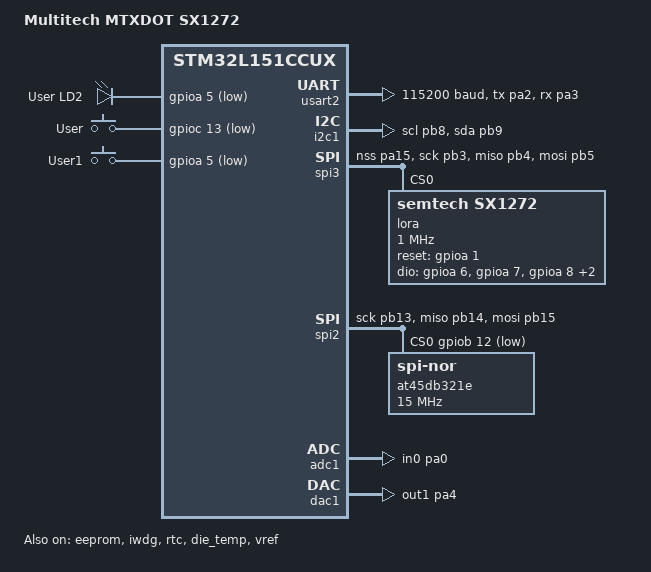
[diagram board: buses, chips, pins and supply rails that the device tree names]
/*
 * Copyright (c) 2024 Multitech Systems Inc.
 *
 * SPDX-License-Identifier: Apache-2.0
 */

/dts-v1/;
#include <st/l1/stm32l151Xc.dtsi>
#include <st/l1/stm32l151ccux-pinctrl.dtsi>
#include "arduino_r3_connector.dtsi"
#include <zephyr/dt-bindings/input/input-event-codes.h>

/ {
	model = "Multitech MTXDOT SX1272";
	compatible = "st,stm32l151ccux", "multitech,xdot";

	chosen {
		zephyr,console = &usart2;
		zephyr,shell-uart = &usart2;
		zephyr,sram = &sram0;
		zephyr,flash = &flash0;
		zephyr,flash-controller = &at45db321e;
	};

	leds: leds {
		compatible = "gpio-leds";
		green_led_0: led_0 {
			gpios = <&gpioa 5 GPIO_ACTIVE_LOW>;
			label = "User LD2";
		};
	};

	gpio_keys {
		compatible = "gpio-keys";
		user_button: button {
			label = "User";
			gpios = <&gpioc 13 GPIO_ACTIVE_LOW>;
			zephyr,code = <INPUT_KEY_0>;
		};
		flash_switch: switch {
			label = "User1";
			gpios = <&gpioa 5 GPIO_ACTIVE_LOW>;
			zephyr,code = <INPUT_KEY_1>;
		};
	};

	aliases {
		led0 = &green_led_0;
		sw0 = &user_button;
		eeprom-0 = &eeprom;
		watchdog0 = &iwdg;
		lora0 = &lora;
		flash-switch = &flash_switch;
		flash1 = &at45db321e;
	};
};

&clk_lsi {
	status = "okay";
};

&clk_hsi {
	status = "okay";
};

&clk_hse {
	clock-frequency = <DT_FREQ_M(24)>; /* 24MHz clock */
	status = "disabled";
};

&pll {
	div = <2>;
	mul = <4>;
	clocks = <&clk_hsi>;
	status = "okay";
};

&rcc {
	clocks = <&pll>;
	clock-frequency = <DT_FREQ_M(32)>;
	ahb-prescaler = <1>;
	apb1-prescaler = <1>;
	apb2-prescaler = <1>;
};

&usart2 {
	pinctrl-0 = <&usart2_tx_pa2 &usart2_rx_pa3>;
	pinctrl-names = "default";
	current-speed = <115200>;
	status = "okay";
};

&i2c1 {
	pinctrl-0 = <&i2c1_scl_pb8 &i2c1_sda_pb9>;
	pinctrl-names = "default";
	status = "okay";
};

&spi1 {
	status = "disabled";
};

&spi3 {
	pinctrl-0 = <&spi3_nss_pa15 &spi3_sck_pb3 &spi3_miso_pb4 &spi3_mosi_pb5>;
	pinctrl-names = "default";
	status = "okay";

	lora: spi3@0 {
		compatible = "semtech,sx1272";
		spi-max-frequency = <DT_FREQ_M(1)>;
		reset-gpios = <&gpioa 1 GPIO_ACTIVE_HIGH>;   /* A0 */
		reg=<0x0>;
		dio-gpios = <&gpioa 6 (GPIO_PULL_UP | GPIO_ACTIVE_HIGH)>,	   /* DIO0 is D2 */
		            <&gpioa 7 (GPIO_PULL_UP | GPIO_ACTIVE_HIGH)>,	   /* DIO1 is D3 */
			    <&gpioa 8 (GPIO_PULL_UP | GPIO_ACTIVE_HIGH)>,	   /* DIO2 is D4 */
			    <&gpiob 1 (GPIO_PULL_UP | GPIO_ACTIVE_HIGH)>,    /* DIO3 is D5 */
				<&gpioc 13 (GPIO_PULL_UP | GPIO_ACTIVE_HIGH)>;	   /* DIO4 is D5 */

		power-amplifier-output = "pa-boost";
	};
};

&spi2 {
	pinctrl-0 = <&spi2_sck_pb13
		     &spi2_miso_pb14 &spi2_mosi_pb15>;
	pinctrl-names = "default";
	status = "okay";

	cs-gpios = <&gpiob 12 (GPIO_PULL_DOWN | GPIO_ACTIVE_LOW)>;

	at45db321e: at45db321e@0 {
		#compatible = "atmel,at45";

		spi-max-frequency = <DT_FREQ_M(15)>;
		reg = <0>;
		size = <0x2000000>;

		#sector-size = <0x10000>;
		#block-size = <0x1000>;
		#page-size = <512>;
		#use-udpd;
		#enter-dpd-delay = <1000>;
		#exit-dpd-delay = <180000>;


		compatible = "jedec,spi-nor"; 
		has-dpd;
		t-enter-dpd = <1000>;
		t-exit-dpd = <180000>;

		status = "okay";

		jedec-id = [1f 27 01];
	};
};

&eeprom {
	status = "okay";
};

&iwdg {
	status = "okay";
};

&rtc {
	clocks = <&rcc STM32_CLOCK_BUS_APB1 0x10000000>,
		 <&rcc STM32_SRC_LSI RTC_SEL(2)>;
	status = "okay";
};

&adc1 {
	pinctrl-0 = <&adc_in0_pa0>;
	pinctrl-names = "default";
	st,adc-clock-source = <ASYNC>;
	st,adc-prescaler = <4>;
	status = "okay";
};

&die_temp {
	status = "okay";
};

&dac1 {
	status = "okay";
	pinctrl-0 = <&dac_out1_pa4>;
	pinctrl-names = "default";
};

&flash0 {
	partitions {
		compatible = "fixed-partitions";
		#address-cells = <1>;
		#size-cells = <1>;

		/* Set 2KB of storage at the end of 512KB flash */
		storage_partition: partition@7f800 {
			label = "storage";
			reg = <0x0007f800 DT_SIZE_K(2)>;
		};
	};
};

&timers2 {
	status = "disabled";
};

&timers3 {
	status = "disabled";

	/* pwm3: pwm {
	*	status = "okay";
	*	pinctrl-0 = <&tim3_ch1_pa6>;
	*	pinctrl-names = "default";
	* };
	*/
};

&dma1 {
	status = "okay";
};

&vref {
	status = "okay";
};
